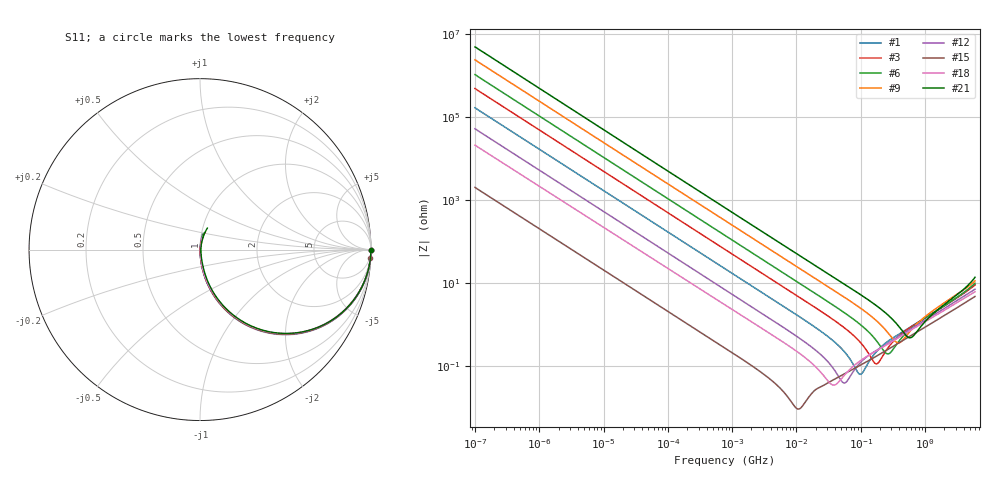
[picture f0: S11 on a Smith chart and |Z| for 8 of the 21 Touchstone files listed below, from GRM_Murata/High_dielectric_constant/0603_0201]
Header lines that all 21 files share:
!These Parameters are Measured in Series Mode Connection
!Data Generated on Mar 30, 2021
!  o--ll--o
!Port1  Port2
!  o------o
!Operation Temp=25[degC], DC Bias Voltage=0[V]
!Freq. Start=100[Hz] Stop=6[GHz] 401[Steps]
# Hz S RI R 50
!Freq.(Hz) S11(Real) S11(Imag) S21(Real) S21(Imag) S12(Real) S12(Imag) S22(Real) S22(Imag)
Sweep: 100 Hz to 6 GHz
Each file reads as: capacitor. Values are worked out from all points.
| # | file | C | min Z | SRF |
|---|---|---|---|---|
| 1 | GRM033B31E103MA12.s2p | 9.61 nF | 63.4 mohm | 99.4 MHz |
| 2 | GRM033B31E222KA12.s2p | 2.14 nF | 162 mohm | 208.3 MHz |
| 3 | GRM033B31E332KA12.s2p | 3.3 nF | 113 mohm | 176.5 MHz |
| 4 | GRM033B31H101KA12.s2p | 103 pF | 958 mohm | 1.057 GHz |
| 5 | GRM033B31H151KA12.s2p | 155 pF | 711 mohm | 885.1 MHz |
| 6 | GRM033B31H152MA12.s2p | 1.53 nF | 197 mohm | 266.4 MHz |
| 7 | GRM033B31H221MA12.s2p | 230 pF | 545 mohm | 704.5 MHz |
| 8 | GRM033B31H471KA12.s2p | 489 pF | 386 mohm | 457.3 MHz |
| 9 | GRM033B31H681KA12.s2p | 672 pF | 364 mohm | 387 MHz |
| 10 | GRM033C80G153KE01.s2p | 14.6 nF | 72.4 mohm | 80.47 MHz |
| 11 | GRM033C80J224ME90.s2p | 191 nF | 20.4 mohm | 22.11 MHz |
| 12 | GRM033C80J333ME01.s2p | 30.7 nF | 39.4 mohm | 56.44 MHz |
| 13 | GRM033C80J473ME19.s2p | 46.6 nF | 31.4 mohm | 44.57 MHz |
| 14 | GRM033C80J683KE15.s2p | 53.5 nF | 37.3 mohm | 42.75 MHz |
| 15 | GRM033C81A105ME05.s2p | 791 nF | 9.26 mohm | 11.07 MHz |
| 16 | GRM033C81A473KE05.s2p | 44.6 nF | 31.9 mohm | 45.72 MHz |
| 17 | GRM033C81E103ME14.s2p | 9.63 nF | 72.5 mohm | 98.34 MHz |
| 18 | GRM033R6YA104KE14.s2p | 76 nF | 34.9 mohm | 38.76 MHz |
| 19 | GRM033R11A682MA01.s2p | 6.78 nF | 73.5 mohm | 120.5 MHz |
| 20 | GRM033R11C102KA01.s2p | 1 nF | 234 mohm | 317.1 MHz |
| 21 | GRM033R11C331KA01.s2p | 328 pF | 481 mohm | 585.2 MHz |
